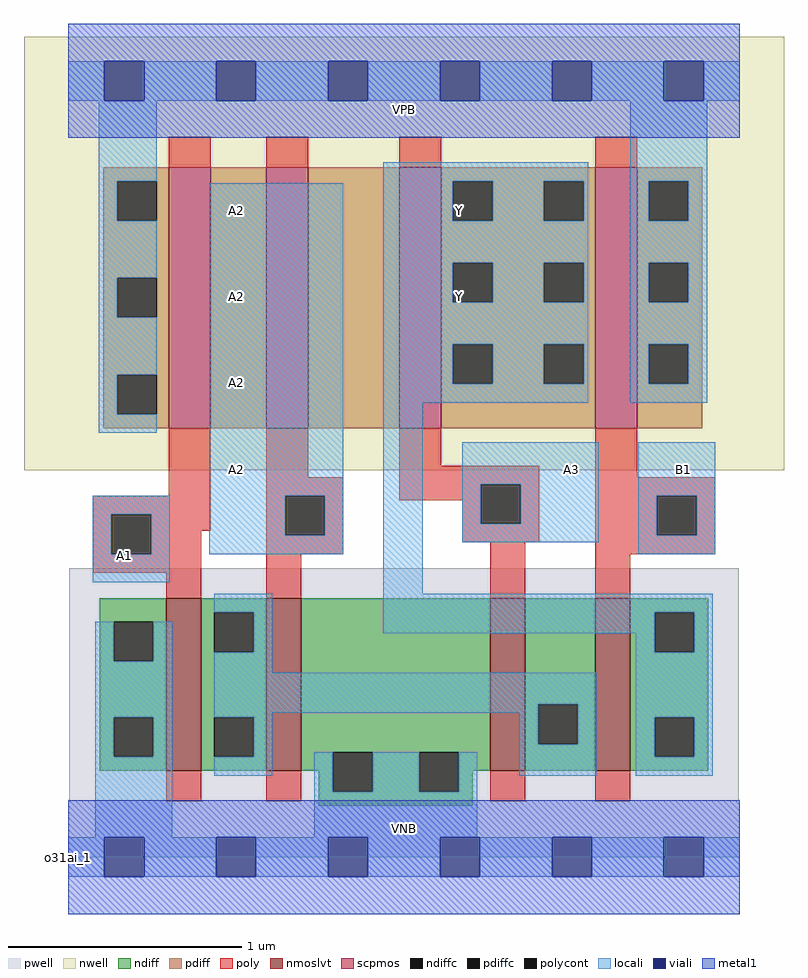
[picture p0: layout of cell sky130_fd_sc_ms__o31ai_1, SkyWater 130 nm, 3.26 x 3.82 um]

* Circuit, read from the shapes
.subckt sky130_fd_sc_ms__o31ai_1 A1 A2 A3 B1 VGND VNB VPB VPWR Y
XM1 n1 A1 VGND VNB sky130_fd_pr__nfet_01v8_lvt w=0.74 l=0.15
XM2 VGND A2 n1 VNB sky130_fd_pr__nfet_01v8_lvt w=0.74 l=0.15
XM3 n1 A3 VGND VNB sky130_fd_pr__nfet_01v8_lvt w=0.74 l=0.15
XM4 Y B1 n1 VNB sky130_fd_pr__nfet_01v8_lvt w=0.74 l=0.15
XM5 n2 A1 VPWR VPB sky130_fd_pr__pfet_01v8 w=1.12 l=0.18
XM6 n3 A2 n2 VPB sky130_fd_pr__pfet_01v8 w=1.12 l=0.18
XM7 Y A3 n3 VPB sky130_fd_pr__pfet_01v8 w=1.12 l=0.18
XM8 VPWR B1 Y VPB sky130_fd_pr__pfet_01v8 w=1.12 l=0.18
.ends

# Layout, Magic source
magic
tech sky130A
magscale 1 2
<< nwell >>
rect -38 332 614 704
<< pwell >>
rect 1 49 575 248
rect 0 0 576 49
<< scpmos >>
rect 86 368 122 592
rect 170 368 206 592
rect 284 368 320 592
rect 452 368 488 592
<< nmoslvt >>
rect 84 74 114 222
rect 170 74 200 222
rect 362 74 392 222
rect 452 74 482 222
<< ndiff >>
rect 27 202 84 222
rect 27 168 39 202
rect 73 168 84 202
rect 27 120 84 168
rect 27 86 39 120
rect 73 86 84 120
rect 27 74 84 86
rect 114 210 170 222
rect 114 176 125 210
rect 159 176 170 210
rect 114 120 170 176
rect 114 86 125 120
rect 159 86 170 120
rect 114 74 170 86
rect 200 90 362 222
rect 200 74 227 90
rect 215 56 227 74
rect 261 56 301 90
rect 335 74 362 90
rect 392 131 452 222
rect 392 97 403 131
rect 437 97 452 131
rect 392 74 452 97
rect 482 210 549 222
rect 482 176 503 210
rect 537 176 549 210
rect 482 120 549 176
rect 482 86 503 120
rect 537 86 549 120
rect 482 74 549 86
rect 335 56 347 74
rect 215 44 347 56
<< pdiff >>
rect 30 580 86 592
rect 30 546 42 580
rect 76 546 86 580
rect 30 497 86 546
rect 30 463 42 497
rect 76 463 86 497
rect 30 414 86 463
rect 30 380 42 414
rect 76 380 86 414
rect 30 368 86 380
rect 122 368 170 592
rect 206 368 284 592
rect 320 580 452 592
rect 320 546 330 580
rect 364 546 408 580
rect 442 546 452 580
rect 320 510 452 546
rect 320 476 330 510
rect 364 476 408 510
rect 442 476 452 510
rect 320 440 452 476
rect 320 406 330 440
rect 364 406 408 440
rect 442 406 452 440
rect 320 368 452 406
rect 488 580 544 592
rect 488 546 498 580
rect 532 546 544 580
rect 488 510 544 546
rect 488 476 498 510
rect 532 476 544 510
rect 488 440 544 476
rect 488 406 498 440
rect 532 406 544 440
rect 488 368 544 406
<< ndiffc >>
rect 39 168 73 202
rect 39 86 73 120
rect 125 176 159 210
rect 125 86 159 120
rect 227 56 261 90
rect 301 56 335 90
rect 403 97 437 131
rect 503 176 537 210
rect 503 86 537 120
<< pdiffc >>
rect 42 546 76 580
rect 42 463 76 497
rect 42 380 76 414
rect 330 546 364 580
rect 408 546 442 580
rect 330 476 364 510
rect 408 476 442 510
rect 330 406 364 440
rect 408 406 442 440
rect 498 546 532 580
rect 498 476 532 510
rect 498 406 532 440
<< poly >>
rect 86 592 122 618
rect 170 592 206 618
rect 284 592 320 618
rect 452 592 488 618
rect 86 310 122 368
rect 21 294 122 310
rect 21 260 37 294
rect 71 280 122 294
rect 170 326 206 368
rect 284 336 320 368
rect 170 310 236 326
rect 71 260 114 280
rect 21 244 114 260
rect 84 222 114 244
rect 170 276 186 310
rect 220 276 236 310
rect 284 320 404 336
rect 284 306 354 320
rect 170 260 236 276
rect 338 286 354 306
rect 388 286 404 320
rect 338 270 404 286
rect 452 326 488 368
rect 452 310 555 326
rect 452 276 505 310
rect 539 276 555 310
rect 170 222 200 260
rect 362 222 392 270
rect 452 260 555 276
rect 452 222 482 260
rect 84 48 114 74
rect 170 48 200 74
rect 362 48 392 74
rect 452 48 482 74
<< polycont >>
rect 37 260 71 294
rect 186 276 220 310
rect 354 286 388 320
rect 505 276 539 310
<< locali >>
rect 0 649 31 683
rect 65 649 127 683
rect 161 649 223 683
rect 257 649 319 683
rect 353 649 415 683
rect 449 649 511 683
rect 545 649 576 683
rect 26 580 76 649
rect 26 546 42 580
rect 270 580 446 596
rect 26 497 76 546
rect 26 463 42 497
rect 26 414 76 463
rect 26 380 42 414
rect 26 364 76 380
rect 121 310 236 578
rect 21 294 87 310
rect 21 260 37 294
rect 71 260 87 294
rect 121 276 186 310
rect 220 276 236 310
rect 121 260 236 276
rect 270 546 330 580
rect 364 546 408 580
rect 442 546 446 580
rect 270 510 446 546
rect 270 476 330 510
rect 364 476 408 510
rect 442 476 446 510
rect 270 440 446 476
rect 270 406 330 440
rect 364 406 408 440
rect 442 406 446 440
rect 270 390 446 406
rect 482 580 548 649
rect 482 546 498 580
rect 532 546 548 580
rect 482 510 548 546
rect 482 476 498 510
rect 532 476 548 510
rect 482 440 548 476
rect 482 406 498 440
rect 532 406 548 440
rect 482 390 548 406
rect 21 236 87 260
rect 270 226 304 390
rect 338 320 455 356
rect 338 286 354 320
rect 388 286 455 320
rect 338 270 455 286
rect 489 310 555 356
rect 489 276 505 310
rect 539 276 555 310
rect 489 260 555 276
rect 125 210 175 226
rect 23 168 39 202
rect 73 168 89 202
rect 23 120 89 168
rect 23 86 39 120
rect 73 86 89 120
rect 23 17 89 86
rect 159 176 175 210
rect 270 210 553 226
rect 270 192 503 210
rect 125 158 175 176
rect 487 176 503 192
rect 537 176 553 210
rect 125 131 453 158
rect 125 124 403 131
rect 125 120 175 124
rect 159 86 175 120
rect 387 97 403 124
rect 437 97 453 131
rect 125 70 175 86
rect 211 56 227 90
rect 261 56 301 90
rect 335 56 351 90
rect 387 70 453 97
rect 487 120 553 176
rect 487 86 503 120
rect 537 86 553 120
rect 487 70 553 86
rect 211 17 351 56
rect 0 -17 31 17
rect 65 -17 127 17
rect 161 -17 223 17
rect 257 -17 319 17
rect 353 -17 415 17
rect 449 -17 511 17
rect 545 -17 576 17
<< viali >>
rect 31 649 65 683
rect 127 649 161 683
rect 223 649 257 683
rect 319 649 353 683
rect 415 649 449 683
rect 511 649 545 683
rect 31 -17 65 17
rect 127 -17 161 17
rect 223 -17 257 17
rect 319 -17 353 17
rect 415 -17 449 17
rect 511 -17 545 17
<< metal1 >>
rect 0 683 576 715
rect 0 649 31 683
rect 65 649 127 683
rect 161 649 223 683
rect 257 649 319 683
rect 353 649 415 683
rect 449 649 511 683
rect 545 649 576 683
rect 0 617 576 649
rect 0 17 576 49
rect 0 -17 31 17
rect 65 -17 127 17
rect 161 -17 223 17
rect 257 -17 319 17
rect 353 -17 415 17
rect 449 -17 511 17
rect 545 -17 576 17
rect 0 -49 576 -17
<< labels >>
flabel pwell s 0 0 576 49 0 FreeSans 200 0 0 0 VNB
port 6 nsew ground bidirectional
flabel nwell s 0 617 576 666 0 FreeSans 200 0 0 0 VPB
port 7 nsew power bidirectional
rlabel comment s 0 0 0 0 4 o31ai_1
flabel metal1 s 0 617 576 666 0 FreeSans 340 0 0 0 VPWR
port 8 nsew power bidirectional
flabel metal1 s 0 0 576 49 0 FreeSans 340 0 0 0 VGND
port 5 nsew ground bidirectional
flabel locali s 415 316 449 350 0 FreeSans 340 0 0 0 A3
port 3 nsew signal input
flabel locali s 127 316 161 350 0 FreeSans 340 0 0 0 A2
port 2 nsew signal input
flabel locali s 127 390 161 424 0 FreeSans 340 0 0 0 A2
port 2 nsew signal input
flabel locali s 127 464 161 498 0 FreeSans 340 0 0 0 A2
port 2 nsew signal input
flabel locali s 127 538 161 572 0 FreeSans 340 0 0 0 A2
port 2 nsew signal input
flabel locali s 511 316 545 350 0 FreeSans 340 0 0 0 B1
port 4 nsew signal input
flabel locali s 31 242 65 276 0 FreeSans 340 0 0 0 A1
port 1 nsew signal input
flabel locali s 319 464 353 498 0 FreeSans 340 0 0 0 Y
port 9 nsew signal output
flabel locali s 319 538 353 572 0 FreeSans 340 0 0 0 Y
port 9 nsew signal output
<< properties >>
string LEFsite unit
string LEFclass CORE
string FIXED_BBOX 0 0 576 666
string GDS_FILE $PDKPATH/libs.ref/sky130_fd_sc_ms/gds/sky130_fd_sc_ms.gds
string LEFsymmetry X Y
string GDS_END 260176
string GDS_START 254132
<< end >>
